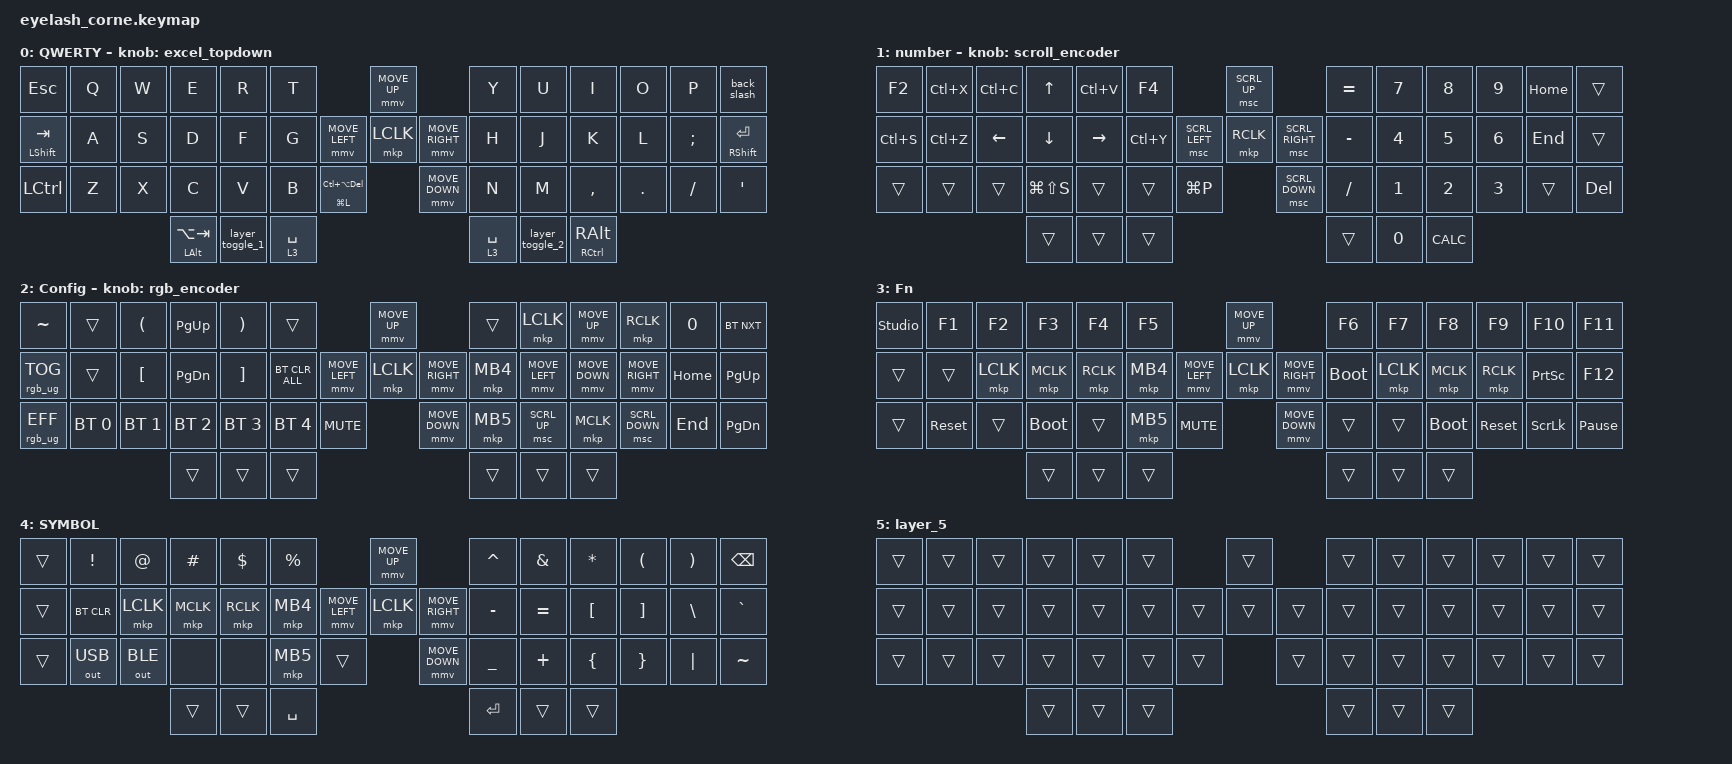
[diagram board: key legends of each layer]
#include <dt-bindings/zmk/mouse.h>
#include <input/processors.dtsi>
#include <behaviors.dtsi>
#include <dt-bindings/zmk/bt.h>
#include <dt-bindings/zmk/keys.h>
#include <dt-bindings/zmk/outputs.h>
#include <dt-bindings/zmk/pointing.h>
#include <dt-bindings/zmk/rgb.h>

/*

   &mmv_input_listener {
       input-processors = <&zip_xy_scaler 2 1>;
   };

   &msc_input_listener {
       input-processors = <&zip_xy_scaler 2 1>;
   };

 */

#define ZMK_MOUSE_DEFAULT_MOVE_VAL 1200  // 600
#define ZMK_MOUSE_DEFAULT_SCRL_VAL 20    // 10

/ {
    behaviors {
        td0: td0 {
            compatible = "zmk,behavior-tap-dance";
            display-name = "Shift/Caps Lock Tap Dance";
            #binding-cells = <0>;
            bindings = <&kp LEFT_SHIFT>, <&kp CAPS>;
        };

        hold_tab: hold_tab {
            compatible = "zmk,behavior-hold-tap";
            label = "HOLD_TAB";
            bindings = <&kp>, <&kp>;

            #binding-cells = <2>;
            tapping-term-ms = <250>;
            flavor = "hold-preferred";
        };

        scroll_encoder: scroll_encoder {
            compatible = "zmk,behavior-sensor-rotate";
            label = "SCROLL_ENCODER";
            #sensor-binding-cells = <0>;
            bindings = <&kp PAGE_DOWN>, <&kp PAGE_UP>;
        };

        task_up_down: task_up_down {
            compatible = "zmk,behavior-sensor-rotate";
            label = "TASK_UP_DOWN";
            #sensor-binding-cells = <0>;
            bindings = <&kp C_AL_NEXT_TASK>, <&kp C_AL_PREVIOUS_TASK>;
        };

        layer_toggle_1: layer_toggle_1 {
            compatible = "zmk,behavior-tap-dance";
            label = "LAYER_TOGGLE_1";
            #binding-cells = <0>;
            bindings = <&mo 1>, <&tog 1>;

            tapping-term-ms = <500>;
        };

        layer_toggle_2: layer_toggle_2 {
            compatible = "zmk,behavior-tap-dance";
            label = "LAYER_TOGGLE_2";
            #binding-cells = <0>;
            bindings = <&mo 2>, <&tog 2>;

            tapping-term-ms = <500>;
        };

        back_slash: back_slash {
            compatible = "zmk,behavior-mod-morph";
            label = "BACK_SLASH";
            bindings = <&kp BACKSPACE>, <&kp BACKSLASH>;

            #binding-cells = <0>;
            mods = <(MOD_LSFT)>;
        };

        rotate_scroll: rotate_scroll {
            compatible = "zmk,behavior-sensor-rotate-var";
            label = "ROTATE_SCROLL";
            #sensor-binding-cells = <2>;
            bindings = <&msc>, <&msc>;
        };

        excel_topdown: excel_topdown {
            compatible = "zmk,behavior-sensor-rotate";
            label = "EXCEL_TOPDOWN";
            #sensor-binding-cells = <0>;
            bindings = <&kp LC(UP)>, <&kp LC(DOWN_ARROW)>;
        };
    };

    rgb_encoder: rgb_encoder {
        compatible = "zmk,behavior-sensor-rotate";
        #sensor-binding-cells = <0>;
        bindings = <&rgb_ug RGB_BRI>, <&rgb_ug RGB_BRD>;
    };

    keymap {
        compatible = "zmk,keymap";

        default_layer {
            display-name = "QWERTY";
            bindings = <
&kp ESC             &kp Q  &kp W  &kp E                       &kp R            &kp T                                                    &mmv MOVE_UP                     &kp Y        &kp U            &kp I                              &kp O    &kp P     &back_slash
&mt LEFT_SHIFT TAB  &kp A  &kp S  &kp D                       &kp F            &kp G                                    &mmv MOVE_LEFT  &mkp LCLK       &mmv MOVE_RIGHT  &kp H        &kp J            &kp K                              &kp L    &kp SEMI  &mt RIGHT_SHIFT ENTER
&kp LCTRL           &kp Z  &kp X  &kp C                       &kp V            &kp B        &mt LG(L) LC(LA(DELETE))                    &mmv MOVE_DOWN                   &kp N        &kp M            &kp COMMA                          &kp DOT  &kp FSLH  &kp APOS
                                  &hold_tab LEFT_ALT LA(TAB)  &layer_toggle_1  &lt 3 SPACE                                                                               &lt 3 SPACE  &layer_toggle_2  &hold_tab RIGHT_CONTROL RIGHT_ALT
            >;

            sensor-bindings = <&excel_topdown>;
        };

        lower_number {
            bindings = <
&kp F2     &kp LC(X)  &kp LC(C)  &kp UP         &kp LC(V)  &kp F4                                  &msc SCRL_UP                     &kp EQUAL  &kp N7  &kp N8      &kp N9  &kp HOME  &trans
&kp LC(S)  &kp LC(Z)  &kp LEFT   &kp DOWN       &kp RIGHT  &kp LC(Y)               &msc SCRL_LEFT  &mkp RCLK       &msc SCRL_RIGHT  &kp MINUS  &kp N4  &kp N5      &kp N6  &kp END   &trans
&trans     &trans     &trans     &kp LG(LS(S))  &trans     &trans     &kp LG(P)                    &msc SCRL_DOWN                   &kp FSLH   &kp N1  &kp N2      &kp N3  &trans    &kp DEL
                                 &trans         &trans     &trans                                                                   &trans     &kp N0  &kp K_CALC
            >;

            label = "number";
            sensor-bindings = <&scroll_encoder>;
        };

        raise_config {
            display-name = "Config";
            bindings = <
&kp TILDE        &trans        &kp LEFT_PARENTHESIS  &kp PAGE_UP    &kp RIGHT_PARENTHESIS  &trans                                        &mmv MOVE_UP                     &trans    &mkp LCLK       &mmv MOVE_UP    &mkp RCLK        &kp N0    &bt BT_NXT
&rgb_ug RGB_TOG  &trans        &kp LEFT_BRACKET      &kp PAGE_DOWN  &kp RIGHT_BRACKET      &bt BT_CLR_ALL                &mmv MOVE_LEFT  &mkp LCLK       &mmv MOVE_RIGHT  &mkp MB4  &mmv MOVE_LEFT  &mmv MOVE_DOWN  &mmv MOVE_RIGHT  &kp HOME  &kp PG_UP
&rgb_ug RGB_EFF  &bt BT_SEL 0  &bt BT_SEL 1          &bt BT_SEL 2   &bt BT_SEL 3           &bt BT_SEL 4    &kp C_MUTE                    &mmv MOVE_DOWN                   &mkp MB5  &msc SCRL_UP    &mkp MCLK       &msc SCRL_DOWN   &kp END   &kp PG_DN
                                                     &trans         &trans                 &trans                                                                         &trans    &trans          &trans
            >;

            sensor-bindings = <&rgb_encoder>;
            label = "config";
        };

        layer_3 {
            display-name = "Fn";
            bindings = <
&studio_unlock  &kp F1      &kp F2     &kp F3       &kp F4     &kp F5                                  &mmv MOVE_UP                     &kp F6       &kp F7     &kp F8       &kp F9      &kp F10          &kp F11
&trans          &trans      &mkp LCLK  &mkp MCLK    &mkp RCLK  &mkp MB4                &mmv MOVE_LEFT  &mkp LCLK       &mmv MOVE_RIGHT  &bootloader  &mkp LCLK  &mkp MCLK    &mkp RCLK   &kp PRINTSCREEN  &kp F12
&trans          &sys_reset  &trans     &bootloader  &trans     &mkp MB5  &kp C_MUTE                    &mmv MOVE_DOWN                   &trans       &trans     &bootloader  &sys_reset  &kp SCROLLLOCK   &kp PAUSE_BREAK
                                       &trans       &trans     &trans                                                                   &trans       &trans     &trans
            >;
        };

        raise_layer {
            display-name = "SYMBOL";
            bindings = <
&trans  &kp EXCL      &kp AT        &kp HASH   &kp DLLR   &kp PRCNT                            &mmv MOVE_UP                     &kp CARET  &kp AMPS   &kp ASTRK  &kp LPAR  &kp RPAR  &kp BSPC
&trans  &bt BT_CLR    &mkp LCLK     &mkp MCLK  &mkp RCLK  &mkp MB4             &mmv MOVE_LEFT  &mkp LCLK       &mmv MOVE_RIGHT  &kp MINUS  &kp EQUAL  &kp LBKT   &kp RBKT  &kp BSLH  &kp GRAVE
&trans  &out OUT_USB  &out OUT_BLE  &none      &none      &mkp MB5   &trans                    &mmv MOVE_DOWN                   &kp UNDER  &kp PLUS   &kp LBRC   &kp RBRC  &kp PIPE  &kp TILDE
                                    &trans     &trans     &kp SPACE                                                             &kp RET    &trans     &trans
            >;
        };

        layer_5 {
            bindings = <
&trans  &trans  &trans  &trans  &trans  &trans                    &trans          &trans  &trans  &trans  &trans  &trans  &trans
&trans  &trans  &trans  &trans  &trans  &trans            &trans  &trans  &trans  &trans  &trans  &trans  &trans  &trans  &trans
&trans  &trans  &trans  &trans  &trans  &trans  &trans            &trans          &trans  &trans  &trans  &trans  &trans  &trans
                        &trans  &trans  &trans                                    &trans  &trans  &trans
            >;
        };
    };
};
